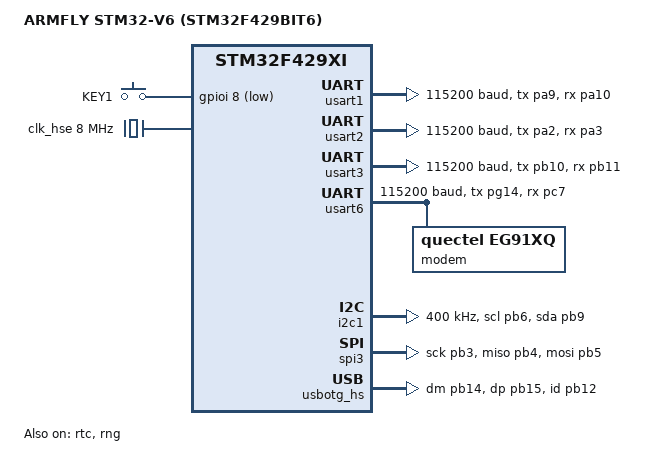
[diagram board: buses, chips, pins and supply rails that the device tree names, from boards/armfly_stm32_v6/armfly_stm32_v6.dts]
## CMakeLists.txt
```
# SPDX-License-Identifier: Apache-2.0

cmake_minimum_required(VERSION 3.28.0)

list(APPEND BOARD_ROOT ${CMAKE_CURRENT_SOURCE_DIR})

find_package(Zephyr REQUIRED HINTS $ENV{ZEPHYR_BASE})
project(hello_world)

target_sources(app PRIVATE
	src/main.c
	src/app_startup.c
	src/app_logging.c
	src/app_time.c
	src/at_control_service.c
	src/modem_device.c
	src/mqtt_tls_credentials.c
	src/ppp_session.c
	src/mqtt_tls_client.c
)
```

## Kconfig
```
source "Kconfig.zephyr"

menu "Armfly Network Demo"

config APP_MQTT_HOSTNAME
	string "MQTT broker hostname"
	default "test.mosquitto.org"

config APP_MQTT_USE_TLS
	bool "Enable MQTT over TLS"
	default y

config APP_MQTT_PORT
	string "MQTT broker port"
	default "8883" if APP_MQTT_USE_TLS
	default "1883"

config APP_MQTT_TOPIC
	string "MQTT topic"
	default "armfly/demo/ppp_tls"

config APP_MQTT_CLIENT_ID_PREFIX
	string "MQTT client ID prefix"
	default "armfly-eg91xq"

config APP_MQTT_LOOP_SECONDS
	int "MQTT demo loop duration in seconds"
	default 20
	range 1 3600

config APP_MQTT_PUBLISH_COUNT
	int "MQTT demo publish count per session"
	default 10
	range 1 255

config APP_MQTT_RX_BUF_SIZE
	int "MQTT client receive buffer size"
	default 1024
	range 256 8192

config APP_MQTT_TX_BUF_SIZE
	int "MQTT client transmit buffer size"
	default 1024
	range 256 8192

config APP_MQTT_PAYLOAD_BUF_SIZE
	int "MQTT payload scratch buffer size"
	default 256
	range 128 2048

if APP_MQTT_USE_TLS

config APP_MQTT_TLS_VERIFY_PEER
	bool "Require broker certificate verification"
	default y

config APP_MQTT_TLS_MUTUAL_AUTH
	bool "Enable mutual TLS authentication"
	default n

config APP_MQTT_TLS_CA_SEC_TAG
	int "TLS security tag for broker CA certificate"
	default 1

config APP_MQTT_TLS_ID_SEC_TAG
	int "TLS security tag for client certificate and private key"
	default 2

endif

config APP_MODEM_SOFT_RESET_ON_RECOVERY
	bool "Allow AT+CFUN=1,1 as last-resort modem recovery"
	default y

config APP_MODEM_SOFT_RESET_THRESHOLD
	int "Consecutive failure threshold before soft reset"
	depends on APP_MODEM_SOFT_RESET_ON_RECOVERY
	default 3
	range 1 255

endmenu
```

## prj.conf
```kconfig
# Added automatically by Workbench for Zephyr
#--- DEBUG PRESET - BEGIN ---#
# Set to -Og
CONFIG_DEBUG_OPTIMIZATIONS=y
# Thread awareness support
CONFIG_DEBUG_THREAD_INFO=y
# Generate stack usage per-function
CONFIG_STACK_USAGE=y
# Other options in case not set by default
CONFIG_MAIN_STACK_SIZE=4096
CONFIG_BUILD_OUTPUT_HEX=y
CONFIG_BUILD_OUTPUT_META=y
CONFIG_OUTPUT_SYMBOLS=y
CONFIG_OUTPUT_STAT=y
CONFIG_OUTPUT_DISASSEMBLY=y
CONFIG_OUTPUT_PRINT_MEMORY_USAGE=y
#--- DEBUG PRESET - END ---#

# ---------------------------------------------------------------------------
# Network / PPP / modem transport
# ---------------------------------------------------------------------------
CONFIG_NETWORKING=y
CONFIG_NET_NATIVE=y
CONFIG_NET_IPV4=y
CONFIG_NET_TCP=y
CONFIG_NET_UDP=y
CONFIG_NET_DHCPV4=y
CONFIG_NET_L2_PPP=y
CONFIG_NET_L2_PPP_MGMT=y
CONFIG_NET_MGMT=y
CONFIG_NET_MGMT_EVENT=y
CONFIG_NET_SOCKETS=y
CONFIG_DNS_RESOLVER=y
CONFIG_DNS_SERVER_IP_ADDRESSES=y
CONFIG_DNS_SERVER1="8.8.8.8"
CONFIG_NET_INTERFACE_NAME=y

CONFIG_MODEM=y
CONFIG_MODEM_CELLULAR=y
CONFIG_MODEM_CELLULAR_APN="internet"
CONFIG_MODEM_CELLULAR_PERIODIC_SCRIPT_MS=10000
CONFIG_MODEM_CELLULAR_MAX_SCRIPT_FAILURES=8
CONFIG_MODEM_CELLULAR_UART_BUFFER_SIZES=1024
CONFIG_MODEM_CELLULAR_CHAT_BUFFER_SIZE=256
CONFIG_MODEM_CMUX_WORK_BUFFER_SIZE_EXTRA=512
CONFIG_MODEM_AT_USER_PIPE=y
CONFIG_MODEM_AT_USER_PIPE_IDX=0
CONFIG_PM_DEVICE=y
CONFIG_UART_INTERRUPT_DRIVEN=y
CONFIG_ENTROPY_STM32_RNG=y

# Keep the known-stable UART backend selection on Zephyr main.
CONFIG_MODEM_BACKEND_UART_ISR=y
CONFIG_MODEM_BACKEND_UART_ASYNC=n

# ---------------------------------------------------------------------------
# Logging / timestamp / diagnostics
# ---------------------------------------------------------------------------
CONFIG_LOG=y
CONFIG_LOG_BACKEND_SHOW_TIMESTAMP=y
CONFIG_LOG_OUTPUT_FORMAT_CUSTOM_TIMESTAMP=y
CONFIG_PRINTK=y

# ---------------------------------------------------------------------------
# MQTT / TLS / certificate validation
# ---------------------------------------------------------------------------
CONFIG_MQTT_LIB=y
CONFIG_MQTT_LIB_TLS=y
CONFIG_NET_SOCKETS_SOCKOPT_TLS=y
CONFIG_MBEDTLS=y
CONFIG_MBEDTLS_SSL_PROTO_TLS1_2=y
CONFIG_MBEDTLS_ENABLE_HEAP=y
CONFIG_MBEDTLS_HEAP_SIZE=60000
CONFIG_MBEDTLS_X509_CRT_PARSE_C=y
CONFIG_MBEDTLS_PEM_PARSE_C=y
CONFIG_MBEDTLS_SSL_SERVER_NAME_INDICATION=y
CONFIG_MBEDTLS_HAVE_TIME_DATE=y
CONFIG_MBEDTLS_CIPHERSUITE_TLS_ECDHE_RSA_WITH_AES_128_GCM_SHA256=y
CONFIG_NET_LOG=y
CONFIG_TLS_CREDENTIALS=y
CONFIG_SNTP=y

# ---------------------------------------------------------------------------
# Modem debug policy (keep focused during bring-up)
# ---------------------------------------------------------------------------
CONFIG_MODEM_LOG_LEVEL_DBG=y
CONFIG_MODEM_MODULES_LOG_LEVEL_DBG=n
CONFIG_MODEM_CHAT_LOG_RAW_RX=n
CONFIG_MODEM_CHAT_LOG_BUFFER_SIZE=256

# ---------------------------------------------------------------------------
# Application policy defaults
# ---------------------------------------------------------------------------
CONFIG_APP_MQTT_USE_TLS=y
CONFIG_APP_MQTT_PORT="8883"
CONFIG_APP_MQTT_PUBLISH_COUNT=10
CONFIG_APP_MQTT_RX_BUF_SIZE=1024
CONFIG_APP_MQTT_TX_BUF_SIZE=1024
CONFIG_APP_MQTT_PAYLOAD_BUF_SIZE=256
# Verify broker certificate (one-way TLS)
CONFIG_APP_MQTT_TLS_VERIFY_PEER=y
# Require client certificate and key (mutual TLS)
CONFIG_APP_MQTT_TLS_MUTUAL_AUTH=y
```

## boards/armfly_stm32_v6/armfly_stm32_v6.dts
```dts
/*
 * Copyright (c) 2017 Linaro Limited
 * Copyright (c) 2024 STMicroelectronics
 * Copyright (c) 2026 ARMFLY
 *
 * SPDX-License-Identifier: Apache-2.0
 */

/dts-v1/;
#include <st/f4/stm32f429Xi.dtsi>
#include <st/f4/stm32f429b(e-g-i)tx-pinctrl.dtsi>
#include <zephyr/dt-bindings/input/input-event-codes.h>

/ {
	model = "ARMFLY STM32-V6 (STM32F429BIT6)";
	compatible = "armfly,stm32-v6";

	chosen {
		zephyr,console = &usart1;
		zephyr,shell-uart = &usart1;
		zephyr,sram = &sram0;
		zephyr,flash = &flash0;
		zephyr,ccm = &ccm0;
	};

	gpio_keys {
		compatible = "gpio-keys";
		key1: button_0 {
			label = "KEY1";
			gpios = <&gpioi 8 GPIO_ACTIVE_LOW>;
			zephyr,code = <INPUT_KEY_0>;
		};
	};

	aliases {
		sw0 = &key1;
		modem-uart = &usart6;
		modem = &modem;
	};
};

&clk_lsi {
	status = "okay";
};

&clk_hse {
	clock-frequency = <DT_FREQ_M(8)>;
	status = "okay";
};

&pll {
	div-m = <8>;
	mul-n = <336>;
	div-p = <2>;
	div-q = <7>;
	clocks = <&clk_hse>;
	status = "okay";
};

&rcc {
	clocks = <&pll>;
	clock-frequency = <DT_FREQ_M(168)>;
	ahb-prescaler = <1>;
	apb1-prescaler = <4>;
	apb2-prescaler = <2>;
};

&usart1 {
	pinctrl-0 = <&usart1_tx_pa9 &usart1_rx_pa10>;
	pinctrl-names = "default";
	current-speed = <115200>;
	status = "okay";
};

&usart2 {
	pinctrl-0 = <&usart2_tx_pa2 &usart2_rx_pa3>;
	pinctrl-names = "default";
	current-speed = <115200>;
	status = "okay";
};

&usart3 {
	pinctrl-0 = <&usart3_tx_pb10 &usart3_rx_pb11>;
	pinctrl-names = "default";
	current-speed = <115200>;
	status = "okay";
};

&usart6 {
	pinctrl-0 = <&usart6_tx_pg14 &usart6_rx_pc7>;
	pinctrl-names = "default";
	current-speed = <115200>;
	status = "okay";

	modem: modem {
		compatible = "quectel,eg91xq";
		/* UART-only wiring: no external PWRKEY control line is connected. */
		autostarts;
		status = "okay";
	};
};

&rtc {
	clocks = <&rcc STM32_CLOCK_BUS_APB1 0x10000000>,
			 <&rcc STM32_SRC_LSI RTC_SEL(2)>;
	status = "okay";
};

&rng {
	status = "okay";
};

&i2c1 {
	pinctrl-0 = <&i2c1_scl_pb6 &i2c1_sda_pb9>;
	pinctrl-names = "default";
	status = "okay";
	clock-frequency = <I2C_BITRATE_FAST>;
};

&spi3 {
	pinctrl-0 = <&spi3_sck_pb3 &spi3_miso_pb4 &spi3_mosi_pb5>;
	pinctrl-names = "default";
	status = "okay";
};

zephyr_udc0: &usbotg_hs {
	pinctrl-0 = <&usb_otg_hs_dm_pb14 &usb_otg_hs_dp_pb15 &usb_otg_hs_id_pb12>;
	pinctrl-names = "default";
	status = "okay";
};
```

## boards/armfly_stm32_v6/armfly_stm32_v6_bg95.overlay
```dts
/*
 * Switch modem node to BG95 (uses Zephyr BG9x cellular driver).
 * Keep UART-only wiring; no dedicated PWRKEY control pin in this overlay.
 */

&modem {
	compatible = "quectel,bg95";
	autostarts;
	status = "okay";
};
```

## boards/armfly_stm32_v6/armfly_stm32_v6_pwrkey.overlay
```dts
/*
 * Enable modem PWRKEY host control for EG91xQ recovery path.
 *
 * Usage:
 * 1) Wire STM32 GPIO to EG91xQ PWRKEY through proper level/drive circuitry.
 * 2) Replace gpiod 14 with your actual pin.
 * 3) Build with this overlay enabled.
 */

#include <zephyr/dt-bindings/gpio/gpio.h>

&modem {
	/* TODO: replace gpiod 14 with the pin actually wired to EG91xQ PWRKEY */
	/*
	 * EG91xQ PWRKEY typically sits on a low-voltage domain.
	 * Use open-drain so MCU only pulls low and never drives a 3.3V high.
	 */
	mdm-power-gpios = <&gpiod 14 (GPIO_OPEN_DRAIN | GPIO_ACTIVE_LOW)>;

	/* Keep modem marked as autostarting; driver can still pulse PWRKEY for recovery. */
	autostarts;
	status = "okay";
};
```

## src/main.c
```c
/*
 * SPDX-License-Identifier: Apache-2.0
 */

#include <errno.h>

#include <zephyr/kernel.h>
#include <zephyr/sys/printk.h>

#include "app_startup.h"

int main(void)
{
	printk("[app] stm32_modem_demo boot, console alive\n");

	while (1) {
		int ret = app_startup_run();

		if (ret == -EAGAIN) {
			continue;
		}

		if (ret == 0) {
			break;
		}

		/* Validation often fails for transient reasons during hardware bring-up.
		 * Retry after a short delay so a power-cycle or SIM/network change does not
		 * require a full MCU reset.
		 */
		printk("[app] modem startup failed: %d, retrying\n", ret);
		k_sleep(K_SECONDS(10));
	}

	while (1) {
		k_sleep(K_SECONDS(5));
	}
}
```

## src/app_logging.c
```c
/*
 * SPDX-License-Identifier: Apache-2.0
 */

#include <stdarg.h>
#include <time.h>

#include <zephyr/logging/log.h>
#include <zephyr/logging/log_ctrl.h>
#include <zephyr/logging/log_output_custom.h>
#include <zephyr/sys/clock.h>
#include <zephyr/sys/printk.h>

#include "app_logging.h"
#include "app_time.h"

#define APP_LOG_TIME_STR_LEN 24

LOG_MODULE_REGISTER(app_logging, CONFIG_LOG_DEFAULT_LEVEL);

static log_timestamp_t app_log_timestamp_get(void)
{
	struct timespec now = { 0 };

	if (sys_clock_gettime(SYS_CLOCK_REALTIME, &now) == 0) {
		return (log_timestamp_t)now.tv_sec;
	}

	return 0U;
}

static int app_log_custom_timestamp(const struct log_output *output,
					const log_timestamp_t timestamp,
					const log_timestamp_printer_t printer)
{
	time_t unix_time = (time_t)timestamp;
	struct tm *tm_utc = gmtime(&unix_time);

	if (tm_utc == NULL) {
		return printer(output, "unsynced");
	}

	return printer(output, "%04d-%02d-%02dT%02d:%02d:%02dZ",
		      tm_utc->tm_year + 1900,
		      tm_utc->tm_mon + 1,
		      tm_utc->tm_mday,
		      tm_utc->tm_hour,
		      tm_utc->tm_min,
		      tm_utc->tm_sec);
}

void app_logger_init(void)
{
	if (log_set_timestamp_func(app_log_timestamp_get, 1000U) < 0) {
		LOG_WRN("logger timestamp hook init failed");
	}

	if (IS_ENABLED(CONFIG_LOG_OUTPUT_FORMAT_CUSTOM_TIMESTAMP)) {
		log_custom_timestamp_set(app_log_custom_timestamp);
	}
}

void app_format_realtime(char *buf, size_t len)
{
	app_time_format_utc(buf, len);
}

void app_logf(const char *fmt, ...)
{
	char ts[APP_LOG_TIME_STR_LEN];
	char msg[192];
	va_list args;

	app_format_realtime(ts, sizeof(ts));
	va_start(args, fmt);
	vsnprintk(msg, sizeof(msg), fmt, args);
	va_end(args);
	printk("[app][%s] %s", ts, msg);
}

void app_log_phase(const char *name, const char *detail)
{
	LOG_INF("phase[%s]: %s", name, detail);
}
```

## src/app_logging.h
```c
/*
 * SPDX-License-Identifier: Apache-2.0
 */

#ifndef APP_LOGGING_H_
#define APP_LOGGING_H_

#include <stddef.h>

void app_format_realtime(char *buf, size_t len);
void app_logf(const char *fmt, ...);
void app_log_phase(const char *name, const char *detail);
void app_logger_init(void);

#define APP_LOG_PHASE(name, detail) LOG_INF("phase[%s]: %s", name, detail)
#define APP_LOG_INFO(...) LOG_INF(__VA_ARGS__)
#define APP_LOG_WARN(...) LOG_WRN(__VA_ARGS__)
#define APP_LOG_ERR(...) LOG_ERR(__VA_ARGS__)

#endif /* APP_LOGGING_H_ */
```

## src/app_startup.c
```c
/*
 * SPDX-License-Identifier: Apache-2.0
 */

#include <errno.h>
#include <stdbool.h>
#include <stdint.h>

#include <zephyr/device.h>
#include <zephyr/drivers/modem/modem_cellular.h>
#include <zephyr/kernel.h>
#include <zephyr/logging/log.h>
#include <zephyr/net/sntp.h>
#include <zephyr/sys/clock.h>
#include <zephyr/sys/util.h>

#include "app_logging.h"
#include "app_startup.h"
#include "app_time.h"
#include "at_control_service.h"
#include "mqtt_tls_client.h"
#include "modem_device.h"
#include "ppp_session.h"

LOG_MODULE_REGISTER(app_startup, CONFIG_LOG_DEFAULT_LEVEL);

static uint8_t app_consecutive_failures;

#define APP_LIFECYCLE_RETRY_STEP_MS 200
#define APP_LIFECYCLE_RETRY_TIMEOUT_MS 10000
#define APP_SNTP_QUERY_TIMEOUT_MS 4000
#define APP_SNTP_RETRY_COUNT 3
#define APP_SNTP_RETRY_DELAY_MS 1200

static int app_sync_time_for_tls(void)
{
	return app_time_sync_for_tls();
}

static int app_bring_down_ppp_with_retry(struct net_if *iface)
{
	int ret;
	int elapsed_ms = 0;

	while (elapsed_ms <= APP_LIFECYCLE_RETRY_TIMEOUT_MS) {
		ret = ppp_session_bring_down(iface);
		if (ret == 0) {
			return 0;
		}
		if (ret != -EAGAIN) {
			return ret;
		}

		k_msleep(APP_LIFECYCLE_RETRY_STEP_MS);
		elapsed_ms += APP_LIFECYCLE_RETRY_STEP_MS;
	}

	return -EAGAIN;
}

static int app_suspend_modem_with_retry(const struct device *modem)
{
	int ret;
	int elapsed_ms = 0;

	while (elapsed_ms <= APP_LIFECYCLE_RETRY_TIMEOUT_MS) {
		ret = modem_device_suspend(modem);
		if (ret == 0) {
			return 0;
		}
		if (ret != -EAGAIN) {
			return ret;
		}

		k_msleep(APP_LIFECYCLE_RETRY_STEP_MS);
		elapsed_ms += APP_LIFECYCLE_RETRY_STEP_MS;
	}

	return -EAGAIN;
}

static void app_resume_periodic_script_if_needed(const struct device *modem,
							 bool *periodic_paused)
{
	int ret;

	if (!periodic_paused || !*periodic_paused) {
		return;
	}

	ret = cellular_modem_resume_periodic_script(modem);
	*periodic_paused = false;
	if (ret < 0 && ret != -EINVAL && ret != -ENOTSUP) {
		app_logf("failed to resume periodic script: %d\n", ret);
	}
}

static int app_pause_periodic_script_if_possible(const struct device *modem)
{
	int ret;

	ret = cellular_modem_pause_periodic_script(modem);
	if (ret == 0 || ret == -EINVAL) {
		return 1;
	}
	if (ret != -ENOTSUP) {
		app_logf("failed to pause periodic script: %d\n", ret);
	}

	return 0;
}

int app_startup_run(void)
{
	const struct device *modem = modem_device_get();
	struct net_if *iface = ppp_session_get_iface();
	bool modem_resumed = false;
	bool ppp_brought_up = false;
	bool soft_reset_requested = false;
	bool periodic_paused = false;
	bool mqtt_stage_reached = false;
	int ret;

	/*
	 * The PPP interface is created by the modem PPP backend. If it is missing,
	 * no amount of modem bring-up will make the validation path succeed.
	 */
	if (iface == NULL) {
		LOG_ERR("PPP interface not found");
		return -ENODEV;
	}

	app_logger_init();
	LOG_INF("logger timestamp source initialized using SYS_CLOCK_REALTIME");
	APP_LOG_PHASE("modem", "resume modem and prepare UART/CMUX backend");
	ret = modem_device_resume(modem);
	if (ret < 0) {
		LOG_ERR("failed to resume modem: %d", ret);
		return ret;
	}
	modem_resumed = true;

	/*
	 * Bringing the network interface up allows the modem driver to complete the
	 * CMUX + PPP path and then obtain an IPv4 address asynchronously.
	 */
	APP_LOG_PHASE("network", "bring up PPP interface");
	ret = ppp_session_bring_up(iface);
	if (ret < 0) {
		LOG_ERR("failed to bring up PPP interface: %d", ret);
		goto fail;
	}
	ppp_brought_up = true;

	ret = ppp_session_wait_connected(iface, K_SECONDS(120));
	if (ret < 0) {
		LOG_ERR("PPP phase not running in time: %d", ret);
		goto fail;
	}

	ret = ppp_session_wait_ipv4_ready(iface, K_SECONDS(30));
	if (ret < 0) {
		LOG_ERR("PPP IPv4 not ready in time: %d", ret);
		goto fail;
	}

	APP_LOG_PHASE("time", "synchronize realtime clock for TLS certificate validation");
	ret = app_sync_time_for_tls();
	if (ret < 0) {
		LOG_ERR("SNTP clock sync failed, abort TLS validation path: %d", ret);
		goto fail;
	}

	APP_LOG_PHASE("network", "PPP data path is up");
	LOG_INF("PPP connected, modem data path is up");

	/*
	 * Validate real data connectivity from STM32 side.
	 * ICMP may be blocked on some operator networks, so a failure here is still
	 * useful as a visibility signal, but not always a modem/PPP defect.
	 */
	APP_LOG_PHASE("network", "validate PPP connectivity to the public internet");
	ret = ppp_session_ping_ipv4(iface, "8.8.8.8", K_SECONDS(8));
	if (ret < 0) {
		LOG_WRN("PPP ping check failed: %d, continue validation with AT/MQTT", ret);
	}

	if (ret == 0) {
		LOG_INF("PPP connectivity check passed");
	}

	APP_LOG_PHASE("modem", "run AT health and registration checks");
	ret = at_control_service_health_check();
	if (ret < 0) {
		LOG_ERR("AT health check failed: %d", ret);
		goto fail;
	}

	ret = at_control_service_query_registration();
	if (ret < 0) {
		LOG_ERR("AT registration query failed: %d", ret);
		goto fail;
	}

	periodic_paused = app_pause_periodic_script_if_possible(modem);

	APP_LOG_PHASE("mqtt", "establish MQTT session over TLS");
	mqtt_stage_reached = true;
	ret = mqtt_tls_client_run(iface);
	if (ret < 0) {
		LOG_ERR("MQTT over TLS demo failed: %d", ret);
		goto fail;
	}

	app_resume_periodic_script_if_needed(modem, &periodic_paused);

	/*
	 * Demonstrate one full PPP over UART lifecycle:
	 * first release PPP/CMUX cleanly, then suspend modem and restart.
	 * The modem driver's shutdown path handles vendor-specific power-off/reset sequence.
	 */
	APP_LOG_PHASE("lifecycle", "complete validation and release modem resources");
	if (ppp_brought_up) {
		int down_ret = app_bring_down_ppp_with_retry(iface);

		if (down_ret < 0) {
			LOG_ERR("failed to bring down PPP interface: %d", down_ret);
		}
	}

	if (modem_resumed) {
		int suspend_ret = app_suspend_modem_with_retry(modem);

		if (suspend_ret < 0) {
			LOG_ERR("failed to suspend modem after success path: %d", suspend_ret);
		}
	}

	k_sleep(K_SECONDS(10));
	LOG_INF("MQTT over TLS demo passed");
	LOG_INF("lifecycle cycle complete, restarting next loop");
	app_consecutive_failures = 0;
	return -EAGAIN;

fail:
	app_resume_periodic_script_if_needed(modem, &periodic_paused);

	if (app_consecutive_failures < UINT8_MAX) {
		app_consecutive_failures++;
	}

	if (mqtt_stage_reached) {
		LOG_WRN("MQTT stage failed, keep modem managed by driver recovery");
		return ret;
	}

	if (ppp_brought_up) {
		(void)ppp_session_bring_down(iface);
	}

	if (IS_ENABLED(CONFIG_APP_MODEM_SOFT_RESET_ON_RECOVERY) &&
	    app_consecutive_failures >= CONFIG_APP_MODEM_SOFT_RESET_THRESHOLD) {
		LOG_WRN("failure threshold reached, requesting AT+CFUN=1,1 soft reset");
		soft_reset_requested = true;
		app_consecutive_failures = 0;
	}

	if (soft_reset_requested) {
		int soft_reset_ret = at_control_service_soft_reset();

		if (soft_reset_ret < 0) {
			LOG_ERR("AT+CFUN=1,1 request failed: %d, fallback to modem suspend",
				soft_reset_ret);
			if (modem_resumed) {
				(void)modem_device_suspend(modem);
			}
		} else {
			LOG_INF("AT+CFUN=1,1 accepted, waiting for modem reboot");
			k_sleep(K_SECONDS(3));
		}

		return ret;
	}

	if (modem_resumed) {
		(void)modem_device_suspend(modem);
	}

	return ret;
}
```

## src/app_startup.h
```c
/*
 * SPDX-License-Identifier: Apache-2.0
 */

#ifndef APP_STARTUP_H_
#define APP_STARTUP_H_

int app_startup_run(void);

#endif /* APP_STARTUP_H_ */
```

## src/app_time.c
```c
/*
 * SPDX-License-Identifier: Apache-2.0
 */

#include <time.h>

#include <zephyr/kernel.h>
#include <zephyr/net/sntp.h>
#include <zephyr/sys/clock.h>
#include <zephyr/sys/util.h>

#include "app_logging.h"
#include "app_time.h"

#define APP_TIME_SYNC_MIN_VALID_UNIX 1700000000LL
#define APP_SNTP_QUERY_TIMEOUT_MS 4000
#define APP_SNTP_RETRY_COUNT 3
#define APP_SNTP_RETRY_DELAY_MS 1200
#define APP_LOG_TIME_STR_LEN 24

static const char *const app_sntp_servers[] = {
	"ntp.aliyun.com",
	"cn.pool.ntp.org",
	"0.pool.ntp.org",
};

#define APP_SNTP_SERVER_COUNT ARRAY_SIZE(app_sntp_servers)

static const char *app_sntp_error_name(int err)
{
	switch (err) {
	case -ETIMEDOUT:
		return "ETIMEDOUT";
	case -ENETUNREACH:
		return "ENETUNREACH";
	case -ENETDOWN:
		return "ENETDOWN";
	case -EHOSTUNREACH:
		return "EHOSTUNREACH";
	default:
		return "UNKNOWN";
	}
}

static const char *app_sntp_error_hint(int err)
{
	switch (err) {
	case -ETIMEDOUT:
		return "NTP response timeout";
	case -ENETUNREACH:
		return "network route unavailable";
	case -ENETDOWN:
		return "network link not ready";
	case -EHOSTUNREACH:
		return "NTP host unreachable";
	default:
		return "refer to raw errno/status";
	}
}

void app_time_format_utc(char *buf, size_t len)
{
	struct timespec now = { 0 };
	struct tm *tm_utc;

	if (buf == NULL || len == 0U) {
		return;
	}

	if (sys_clock_gettime(SYS_CLOCK_REALTIME, &now) < 0 ||
	    now.tv_sec < APP_TIME_SYNC_MIN_VALID_UNIX) {
		snprintk(buf, len, "unsynced");
		return;
	}

	tm_utc = gmtime(&now.tv_sec);
	if (tm_utc == NULL) {
		snprintk(buf, len, "unsynced");
		return;
	}

	snprintk(buf, len, "%04d-%02d-%02dT%02d:%02d:%02dZ",
		 tm_utc->tm_year + 1900,
		 tm_utc->tm_mon + 1,
		 tm_utc->tm_mday,
		 tm_utc->tm_hour,
		 tm_utc->tm_min,
		 tm_utc->tm_sec);
}

int app_time_sync_for_tls(void)
{
	struct timespec now = { 0 };
	struct sntp_time ts = { 0 };
	char ts_text[APP_LOG_TIME_STR_LEN];
	struct timespec synced;
	int attempt;
	int ret;

	if (!IS_ENABLED(CONFIG_MBEDTLS_HAVE_TIME_DATE) ||
	    !IS_ENABLED(CONFIG_APP_MQTT_USE_TLS) ||
	    !IS_ENABLED(CONFIG_APP_MQTT_TLS_VERIFY_PEER)) {
		return 0;
	}

	ret = sys_clock_gettime(SYS_CLOCK_REALTIME, &now);
	if (ret == 0 && now.tv_sec >= APP_TIME_SYNC_MIN_VALID_UNIX) {
		return 0;
	}

	for (attempt = 0; attempt < APP_SNTP_RETRY_COUNT; attempt++) {
		const char *server = app_sntp_servers[attempt % APP_SNTP_SERVER_COUNT];

		ret = sntp_simple(server, APP_SNTP_QUERY_TIMEOUT_MS, &ts);
		if (ret != 0) {
			app_logf("SNTP sync attempt %d/%d failed on %s: %d (%s: %s)\n",
			       attempt + 1, APP_SNTP_RETRY_COUNT, server, ret,
			       app_sntp_error_name(ret), app_sntp_error_hint(ret));
			k_msleep(APP_SNTP_RETRY_DELAY_MS);
			continue;
		}

		synced.tv_sec = (time_t)ts.seconds;
		synced.tv_nsec = (long)(((uint64_t)ts.fraction * 1000000000ULL) >> 32);
		ret = sys_clock_settime(SYS_CLOCK_REALTIME, &synced);
		if (ret < 0) {
			app_logf("failed to set realtime clock after SNTP: %d\n", ret);
			return ret;
		}

		app_time_format_utc(ts_text, sizeof(ts_text));
		app_logf("realtime clock synced via SNTP server=%s (%llu, %s)\n",
		       server, (unsigned long long)ts.seconds, ts_text);
		return 0;
	}

	return ret;
}
```

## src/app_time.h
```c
/*
 * SPDX-License-Identifier: Apache-2.0
 */

#ifndef APP_TIME_H_
#define APP_TIME_H_

#include <stddef.h>

void app_time_format_utc(char *buf, size_t len);
int app_time_sync_for_tls(void);

#endif /* APP_TIME_H_ */
```

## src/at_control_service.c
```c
/*
 * SPDX-License-Identifier: Apache-2.0
 */

#include <errno.h>
#include <string.h>

#include <zephyr/kernel.h>
#include <zephyr/modem/at/user_pipe.h>
#include <zephyr/modem/chat.h>
#include <zephyr/sys/printk.h>
#include <zephyr/sys/util.h>

#include "at_control_service.h"

#define AT_CTRL_RX_BUF_SIZE 128
#define AT_CTRL_ARGV_SIZE 16
#define AT_CTRL_CMD_BUF_SIZE 96
#define AT_CTRL_EXPECTED_BUF_SIZE 16

#define AT_CTRL_CHAT_TIMEOUT_S 5
#define AT_CTRL_PIPE_CLAIM_TIMEOUT K_SECONDS(2)
#define AT_CTRL_SOFT_RESET_SETTLE_MS 2500

static struct k_mutex at_ctrl_lock;
static bool at_ctrl_init_done;

struct at_ctrl_ctx {
	struct modem_chat chat;
	uint8_t chat_rx_buf[AT_CTRL_RX_BUF_SIZE];
	uint8_t *chat_argv[AT_CTRL_ARGV_SIZE];

	struct modem_chat_script script;
	struct modem_chat_script_chat script_chat;
	struct modem_chat_match script_matches[2];
	char cmd_buf[AT_CTRL_CMD_BUF_SIZE];
	char expected_buf[AT_CTRL_EXPECTED_BUF_SIZE];
};

static struct at_ctrl_ctx at_ctrl_ctx;

MODEM_CHAT_MATCH_DEFINE(at_ctrl_ok_match, "OK", "", NULL);
MODEM_CHAT_MATCHES_DEFINE(at_ctrl_abort_matches,
			  MODEM_CHAT_MATCH("ERROR", "", NULL),
			  MODEM_CHAT_MATCH("+CME ERROR", "", NULL));

static void at_ctrl_print_any_match(struct modem_chat *chat, char **argv, uint16_t argc,
				    void *user_data)
{
	ARG_UNUSED(chat);
	ARG_UNUSED(user_data);

	if (argc == 2) {
		printk("[at] resp: %s\n", argv[1]);
	} else if (argc == 1) {
		printk("[at] resp: %s\n", argv[0]);
	}
}

static void at_ctrl_print_match(struct modem_chat *chat, char **argv, uint16_t argc,
				 void *user_data)
{
	ARG_UNUSED(chat);
	ARG_UNUSED(user_data);

	if (argc == 1) {
		printk("[at] resp: %s\n", argv[0]);
	}
}

static int at_control_service_init(void)
{
	struct modem_chat_config chat_cfg = {
		.user_data = NULL,
		.receive_buf = at_ctrl_ctx.chat_rx_buf,
		.receive_buf_size = sizeof(at_ctrl_ctx.chat_rx_buf),
		.delimiter = (const uint8_t *)"\r",
		.delimiter_size = 1,
		.filter = (const uint8_t *)"\n",
		.filter_size = 1,
		.argv = at_ctrl_ctx.chat_argv,
		.argv_size = ARRAY_SIZE(at_ctrl_ctx.chat_argv),
		.unsol_matches = modem_chat_empty_matches,
		.unsol_matches_size = 0,
	};

	if (at_ctrl_init_done) {
		return 0;
	}

	k_mutex_init(&at_ctrl_lock);
	modem_chat_init(&at_ctrl_ctx.chat, &chat_cfg);

	modem_chat_script_init(&at_ctrl_ctx.script);
	modem_chat_script_set_name(&at_ctrl_ctx.script, "app_at_ctrl_script");
	modem_chat_script_set_timeout(&at_ctrl_ctx.script, AT_CTRL_CHAT_TIMEOUT_S);
	modem_chat_script_set_abort_matches(&at_ctrl_ctx.script,
					    at_ctrl_abort_matches,
					    ARRAY_SIZE(at_ctrl_abort_matches));

	modem_chat_script_chat_init(&at_ctrl_ctx.script_chat);

	/* Print intermediate response lines and complete the script when expected final line is seen. */
	modem_chat_match_init(&at_ctrl_ctx.script_matches[0]);
	modem_chat_match_set_match(&at_ctrl_ctx.script_matches[0], "");
	modem_chat_match_set_separators(&at_ctrl_ctx.script_matches[0], "");
	modem_chat_match_set_callback(&at_ctrl_ctx.script_matches[0], at_ctrl_print_any_match);
	modem_chat_match_set_partial(&at_ctrl_ctx.script_matches[0], true);
	modem_chat_match_enable_wildcards(&at_ctrl_ctx.script_matches[0], false);

	modem_chat_match_init(&at_ctrl_ctx.script_matches[1]);
	modem_chat_match_set_match(&at_ctrl_ctx.script_matches[1], "OK");
	modem_chat_match_set_separators(&at_ctrl_ctx.script_matches[1], "");
	modem_chat_match_set_callback(&at_ctrl_ctx.script_matches[1], at_ctrl_print_match);
	modem_chat_match_set_partial(&at_ctrl_ctx.script_matches[1], false);
	modem_chat_match_enable_wildcards(&at_ctrl_ctx.script_matches[1], false);

	modem_chat_script_set_script_chats(&at_ctrl_ctx.script, &at_ctrl_ctx.script_chat, 1);

	at_ctrl_init_done = true;
	return 0;
}

int at_control_service_send(const char *cmd, bool wait_for_ok, uint16_t settle_ms)
{
	int ret;

	if (cmd == NULL || strlen(cmd) == 0) {
		return -EINVAL;
	}

	ret = at_control_service_init();
	if (ret < 0) {
		return ret;
	}

	k_mutex_lock(&at_ctrl_lock, K_FOREVER);

	snprintk(at_ctrl_ctx.cmd_buf, sizeof(at_ctrl_ctx.cmd_buf), "%s", cmd);

	ret = modem_chat_script_chat_set_request(&at_ctrl_ctx.script_chat, at_ctrl_ctx.cmd_buf);
	if (ret < 0) {
		k_mutex_unlock(&at_ctrl_lock);
		return ret;
	}

	snprintk(at_ctrl_ctx.expected_buf, sizeof(at_ctrl_ctx.expected_buf), "%s", "OK");
	ret = modem_chat_match_set_match(&at_ctrl_ctx.script_matches[1], at_ctrl_ctx.expected_buf);
	if (ret < 0) {
		k_mutex_unlock(&at_ctrl_lock);
		return ret;
	}

	ret = modem_chat_script_chat_set_response_matches(&at_ctrl_ctx.script_chat,
					 at_ctrl_ctx.script_matches,
					 ARRAY_SIZE(at_ctrl_ctx.script_matches));
	if (ret < 0) {
		k_mutex_unlock(&at_ctrl_lock);
		return ret;
	}

	if (wait_for_ok) {
		modem_chat_script_chat_set_timeout(&at_ctrl_ctx.script_chat, 0);
	} else {
		modem_chat_script_chat_set_timeout(&at_ctrl_ctx.script_chat, settle_ms);
	}

	ret = modem_at_user_pipe_claim(&at_ctrl_ctx.chat, AT_CTRL_PIPE_CLAIM_TIMEOUT);
	if (ret < 0) {
		printk("[at] pipe claim failed: %d\n", ret);
		k_mutex_unlock(&at_ctrl_lock);
		return ret;
	}

	ret = modem_chat_run_script(&at_ctrl_ctx.chat, &at_ctrl_ctx.script);
	modem_at_user_pipe_release();
	k_mutex_unlock(&at_ctrl_lock);

	if (!wait_for_ok && ret == -ETIMEDOUT) {
		printk("[at] command settle timeout accepted: %s\n", cmd);
		return 0;
	}

	if (ret < 0) {
		printk("[at] command failed (%s): %d\n", cmd, ret);
		return ret;
	}

	printk("[at] command ok: %s\n", cmd);
	return 0;
}

int at_control_service_health_check(void)
{
	return at_control_service_send("AT", true, 0);
}

int at_control_service_query_registration(void)
{
	/* +CEREG response line is modem-specific; this call verifies modem command path health. */
	return at_control_service_send("AT+CEREG?", true, 0);
}

int at_control_service_soft_reset(void)
{
	/* AT+CFUN=1,1 may not return a clean final response before rebooting the modem. */
	return at_control_service_send("AT+CFUN=1,1", false, AT_CTRL_SOFT_RESET_SETTLE_MS);
}
```

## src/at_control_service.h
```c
/*
 * SPDX-License-Identifier: Apache-2.0
 */

#ifndef AT_CONTROL_SERVICE_H_
#define AT_CONTROL_SERVICE_H_

#include <stdbool.h>
#include <stdint.h>

int at_control_service_health_check(void);
int at_control_service_query_registration(void);
int at_control_service_send(const char *cmd, bool wait_for_ok, uint16_t settle_ms);
int at_control_service_soft_reset(void);

#endif /* AT_CONTROL_SERVICE_H_ */
```

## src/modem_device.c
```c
/*
 * SPDX-License-Identifier: Apache-2.0
 */

#include <errno.h>

#include <zephyr/devicetree.h>
#include <zephyr/device.h>
#include <zephyr/pm/device.h>
#include <zephyr/sys/printk.h>

#include "modem_device.h"

const struct device *modem_device_get(void)
{
	return DEVICE_DT_GET(DT_ALIAS(modem));
}

int modem_device_resume(const struct device *modem)
{
	enum pm_device_state state;
	int ret;

	if (!device_is_ready(modem)) {
		printk("modem device is not ready\n");
		return -ENODEV;
	}

	ret = pm_device_state_get(modem, &state);
	if ((ret == 0) && (state == PM_DEVICE_STATE_ACTIVE)) {
		printk("resume modem (already active)\n");
		return 0;
	}

	/* Resume kicks the modem_cellular state machine, which handles power-up,
	 * AT initialization, CMUX setup, and PPP carrier activation.
	 */
	printk("resume modem\n");
	ret = pm_device_action_run(modem, PM_DEVICE_ACTION_RESUME);
	if ((ret == -EALREADY) || (ret == -EBUSY)) {
		printk("resume modem in progress/already done\n");
		return 0;
	}

	return ret;
}

int modem_device_suspend(const struct device *modem)
{
	enum pm_device_state state;
	int ret;

	if (!device_is_ready(modem)) {
		printk("modem device is not ready\n");
		return -ENODEV;
	}

	ret = pm_device_state_get(modem, &state);
	if ((ret == 0) && ((state == PM_DEVICE_STATE_SUSPENDED) || (state == PM_DEVICE_STATE_OFF))) {
		printk("suspend modem (already suspended/off)\n");
		return 0;
	}

	printk("suspend modem\n");
	ret = pm_device_action_run(modem, PM_DEVICE_ACTION_SUSPEND);
	if ((ret == -EALREADY) || (ret == -EBUSY)) {
		printk("suspend modem in progress/already done\n");
		return 0;
	}

	return ret;
}
```

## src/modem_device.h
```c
/*
 * SPDX-License-Identifier: Apache-2.0
 */

#ifndef MODEM_DEVICE_H_
#define MODEM_DEVICE_H_

#include <zephyr/device.h>

const struct device *modem_device_get(void);
int modem_device_resume(const struct device *modem);
int modem_device_suspend(const struct device *modem);

#endif /* MODEM_DEVICE_H_ */
```

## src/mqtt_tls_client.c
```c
/*
 * SPDX-License-Identifier: Apache-2.0
 */

#include <errno.h>
#include <stdbool.h>
#include <stdint.h>
#include <stdio.h>
#include <string.h>

#include <zephyr/kernel.h>
#include <zephyr/net/dns_resolve.h>
#include <zephyr/net/mqtt.h>
#include <zephyr/net/net_if.h>
#include <zephyr/net/socket.h>
#include <zephyr/sys/printk.h>
#include <zephyr/sys/util.h>

#include "mqtt_tls_credentials.h"
#include "mqtt_tls_client.h"

#define APP_MQTT_DNS_RETRY_COUNT 5
#define APP_MQTT_DNS_RETRY_DELAY_MS 1500

struct mqtt_demo_ctx {
	struct mqtt_client client;
	struct sockaddr_storage broker;
	struct zsock_pollfd fds[1];
	uint8_t rx_buf[CONFIG_APP_MQTT_RX_BUF_SIZE];
	uint8_t tx_buf[CONFIG_APP_MQTT_TX_BUF_SIZE];
	char client_id[48];
	char if_name[CONFIG_NET_INTERFACE_NAME_LEN + 1];
	bool connected;
	bool sub_acked;
	int conn_result;
};

static void mqtt_log_tls_evidence(struct mqtt_demo_ctx *ctx)
{
	int sock;
	int ciphersuite = 0;
	net_socklen_t optlen = sizeof(ciphersuite);
	int ret;

	if (ctx->client.transport.type != MQTT_TRANSPORT_SECURE) {
		printk("[mqtt] transport: non-secure\n");
		return;
	}

	sock = ctx->client.transport.tls.sock;
	printk("[mqtt] transport: TLS (sock=%d)\n", sock);

	ret = zsock_getsockopt(sock, ZSOCK_SOL_TLS, ZSOCK_TLS_CIPHERSUITE_USED,
				      &ciphersuite, &optlen);
	if (ret == 0) {
		printk("[mqtt] TLS ciphersuite used: 0x%04x\n", (unsigned int)ciphersuite);
	} else {
		printk("[mqtt] TLS ciphersuite read failed: %d (errno=%d)\n", ret, errno);
	}
}

static void mqtt_prepare_fds(struct mqtt_demo_ctx *ctx)
{
	if (ctx->client.transport.type == MQTT_TRANSPORT_NON_SECURE) {
		ctx->fds[0].fd = ctx->client.transport.tcp.sock;
	} else {
		ctx->fds[0].fd = ctx->client.transport.tls.sock;
	}

	ctx->fds[0].events = ZSOCK_POLLIN;
}

static int mqtt_wait_and_input(struct mqtt_demo_ctx *ctx, int32_t timeout_ms)
{
	int ret;

	ret = zsock_poll(ctx->fds, ARRAY_SIZE(ctx->fds), timeout_ms);
	if (ret < 0) {
		printk("[mqtt] poll failed: %d\n", errno);
		return -errno;
	}

	if (ret > 0 && (ctx->fds[0].revents & ZSOCK_POLLIN)) {
		ret = mqtt_input(&ctx->client);
		if (ret < 0) {
			printk("[mqtt] mqtt_input failed: %d\n", ret);
			return ret;
		}
	}

	ret = mqtt_live(&ctx->client);
	if (ret < 0 && ret != -EAGAIN) {
		printk("[mqtt] mqtt_live failed: %d\n", ret);
		return ret;
	}

	return 0;
}

static void mqtt_event_handler(struct mqtt_client *const client, const struct mqtt_evt *evt)
{
	struct mqtt_demo_ctx *ctx = client->user_data;

	switch (evt->type) {
	case MQTT_EVT_CONNACK:
		ctx->conn_result = (evt->result == 0) ? 0 : -EIO;
		if (evt->result == 0) {
			ctx->connected = true;
			printk("[mqtt] CONNACK ok\n");
		} else {
			printk("[mqtt] CONNACK failed: %d\n", evt->result);
		}
		break;

	case MQTT_EVT_DISCONNECT:
		ctx->connected = false;
		printk("[mqtt] disconnected: %d\n", evt->result);
		break;

	case MQTT_EVT_SUBACK:
		if (evt->result != MQTT_SUBACK_FAILURE) {
			ctx->sub_acked = true;
			printk("[mqtt] SUBACK message_id=%u\n", evt->param.suback.message_id);
		} else {
			printk("[mqtt] SUBACK failed: %d\n", evt->result);
		}
		break;

	case MQTT_EVT_PUBLISH: {
		const struct mqtt_publish_param *p = &evt->param.publish;
		char payload[CONFIG_APP_MQTT_PAYLOAD_BUF_SIZE];
		int bytes_read;
		size_t copy_len;

		bytes_read = mqtt_read_publish_payload(client, payload, sizeof(payload) - 1);
		if (bytes_read < 0) {
			printk("[mqtt] payload read failed: %d\n", bytes_read);
			break;
		}

		copy_len = (size_t)bytes_read;
		payload[copy_len] = '\0';

		printk("[mqtt] RX topic='%.*s' payload='%s'\n",
		       p->message.topic.topic.size,
		       p->message.topic.topic.utf8,
		       payload);

		if (p->message.topic.qos == MQTT_QOS_1_AT_LEAST_ONCE) {
			const struct mqtt_puback_param ack = {
				.message_id = p->message_id,
			};

			(void)mqtt_publish_qos1_ack(client, &ack);
		}
		break;
	}

	case MQTT_EVT_PINGRESP:
		printk("[mqtt] PINGRESP\n");
		break;

	default:
		break;
	}
}

static int mqtt_resolve_broker(struct sockaddr_storage *broker)
{
	struct zsock_addrinfo *result;
	struct zsock_addrinfo hints = {
		.ai_family = AF_INET,
		.ai_socktype = SOCK_STREAM,
	};
	int ret = DNS_EAI_FAIL;
	int attempt;

	for (attempt = 1; attempt <= APP_MQTT_DNS_RETRY_COUNT; attempt++) {
		result = NULL;
		errno = 0;

		ret = zsock_getaddrinfo(CONFIG_APP_MQTT_HOSTNAME, CONFIG_APP_MQTT_PORT,
					    &hints, &result);
		if (ret == 0) {
			break;
		}

		printk("[mqtt] DNS resolve attempt %d/%d failed: %d (%s), errno=%d\n",
		       attempt,
		       APP_MQTT_DNS_RETRY_COUNT,
		       ret,
		       zsock_gai_strerror(ret),
		       errno);

		if (ret != DNS_EAI_AGAIN && ret != DNS_EAI_SYSTEM && ret != DNS_EAI_CANCELED) {
			return (ret == DNS_EAI_NONAME || ret == DNS_EAI_NODATA) ? -ENOENT : -EHOSTUNREACH;
		}

		if (attempt < APP_MQTT_DNS_RETRY_COUNT) {
			k_msleep(APP_MQTT_DNS_RETRY_DELAY_MS);
		}
	}

	if (ret != 0) {
		return -EHOSTUNREACH;
	}

	if (result == NULL || result->ai_addr == NULL) {
		if (result != NULL) {
			zsock_freeaddrinfo(result);
		}
		return -ENOENT;
	}

	memset(broker, 0, sizeof(*broker));
	memcpy(broker, result->ai_addr,
	       MIN((size_t)result->ai_addrlen, sizeof(*broker)));
	zsock_freeaddrinfo(result);

	return 0;
}

static int mqtt_client_setup(struct mqtt_demo_ctx *ctx, struct net_if *iface)
{
	int ret;

	mqtt_client_init(&ctx->client);

	snprintk(ctx->client_id, sizeof(ctx->client_id), "%s-%u",
		 CONFIG_APP_MQTT_CLIENT_ID_PREFIX,
		 (uint32_t)k_uptime_get_32());

	ret = net_if_get_name(iface, ctx->if_name, sizeof(ctx->if_name));
	if (ret < 0) {
		ctx->if_name[0] = '\0';
	}

	ctx->client.broker = &ctx->broker;
	ctx->client.evt_cb = mqtt_event_handler;
	ctx->client.user_data = ctx;
	ctx->client.client_id.utf8 = (uint8_t *)ctx->client_id;
	ctx->client.client_id.size = strlen(ctx->client_id);
	ctx->client.password = NULL;
	ctx->client.user_name = NULL;
	ctx->client.protocol_version = MQTT_VERSION_3_1_1;

	ctx->client.rx_buf = ctx->rx_buf;
	ctx->client.rx_buf_size = sizeof(ctx->rx_buf);
	ctx->client.tx_buf = ctx->tx_buf;
	ctx->client.tx_buf_size = sizeof(ctx->tx_buf);
	ctx->client.transport.if_name = (ctx->if_name[0] != '\0') ? ctx->if_name : NULL;

	if (IS_ENABLED(CONFIG_APP_MQTT_USE_TLS)) {
		ctx->client.transport.type = MQTT_TRANSPORT_SECURE;
		ret = mqtt_tls_credentials_configure(&ctx->client.transport.tls.config);
		if (ret < 0) {
			return ret;
		}
	} else {
		ctx->client.transport.type = MQTT_TRANSPORT_NON_SECURE;
	}

	return 0;
}

static int mqtt_wait_connack(struct mqtt_demo_ctx *ctx, k_timeout_t timeout)
{
	int64_t remaining_ms = k_ticks_to_ms_floor64(timeout.ticks);

	while (remaining_ms > 0) {
		int32_t step_ms = (remaining_ms > 1000) ? 1000 : (int32_t)remaining_ms;
		int ret;

		ret = mqtt_wait_and_input(ctx, step_ms);
		if (ret < 0) {
			return ret;
		}

		if (ctx->connected) {
			return 0;
		}

		if (ctx->conn_result != 0) {
			return ctx->conn_result;
		}

		remaining_ms -= step_ms;
	}

	return -ETIMEDOUT;
}

static int mqtt_subscribe_topic(struct mqtt_demo_ctx *ctx)
{
	struct mqtt_topic topic = {
		.topic = {
			.utf8 = (uint8_t *)CONFIG_APP_MQTT_TOPIC,
			.size = strlen(CONFIG_APP_MQTT_TOPIC),
		},
		.qos = MQTT_QOS_0_AT_MOST_ONCE,
	};
	struct mqtt_subscription_list sub_list = {
		.list = &topic,
		.list_count = 1,
		.message_id = 1,
	};

	ctx->sub_acked = false;
	return mqtt_subscribe(&ctx->client, &sub_list);
}

static int mqtt_wait_suback(struct mqtt_demo_ctx *ctx, k_timeout_t timeout)
{
	int64_t remaining_ms = k_ticks_to_ms_floor64(timeout.ticks);

	while (remaining_ms > 0) {
		int32_t step_ms = (remaining_ms > 1000) ? 1000 : (int32_t)remaining_ms;
		int ret;

		ret = mqtt_wait_and_input(ctx, step_ms);
		if (ret < 0) {
			return ret;
		}

		if (ctx->sub_acked) {
			return 0;
		}

		remaining_ms -= step_ms;
	}

	return -ETIMEDOUT;
}

static int mqtt_pump_for_ms(struct mqtt_demo_ctx *ctx, int32_t duration_ms)
{
	int32_t remaining_ms = duration_ms;

	while (remaining_ms > 0 && ctx->connected) {
		int32_t step_ms = (remaining_ms > 1000) ? 1000 : remaining_ms;
		int ret;

		ret = mqtt_wait_and_input(ctx, step_ms);
		if (ret < 0) {
			return ret;
		}

		remaining_ms -= step_ms;
	}

	return ctx->connected ? 0 : -ENOTCONN;
}

static int mqtt_publish_once(struct mqtt_demo_ctx *ctx, uint8_t publish_index)
{
	char payload[CONFIG_APP_MQTT_PAYLOAD_BUF_SIZE];
	struct mqtt_publish_param msg = { 0 };
	uint16_t msg_id = (uint16_t)(k_uptime_get_32() & 0xFFFFu);
	int len;

	len = snprintk(payload, sizeof(payload),
		       "{\"board\":\"armfly_stm32_v6\",\"seq\":%u,\"uptime_ms\":%u}",
		       publish_index,
		       (uint32_t)k_uptime_get_32());
	if (len < 0 || len >= sizeof(payload)) {
		return -ENOMEM;
	}

	msg.message.topic.topic.utf8 = (uint8_t *)CONFIG_APP_MQTT_TOPIC;
	msg.message.topic.topic.size = strlen(CONFIG_APP_MQTT_TOPIC);
	msg.message.topic.qos = MQTT_QOS_0_AT_MOST_ONCE;
	msg.message.payload.data = payload;
	msg.message.payload.len = (size_t)len;
	msg.message_id = msg_id;
	msg.dup_flag = 0U;
	/* Demo mode: retain the latest payload so late subscribers can still receive it. */
	msg.retain_flag = 1U;

	printk("[mqtt] TX topic='%s' payload='%s'\n", CONFIG_APP_MQTT_TOPIC, payload);
	return mqtt_publish(&ctx->client, &msg);
}

int mqtt_tls_client_run(struct net_if *iface)
{
	static struct mqtt_demo_ctx ctx;
	int32_t publish_interval_ms;
	uint8_t publish_count;
	int ret;
	uint8_t publish_index;

	if (iface == NULL) {
		return -ENODEV;
	}

	memset(&ctx, 0, sizeof(ctx));

	ret = mqtt_resolve_broker(&ctx.broker);
	if (ret < 0) {
		printk("[mqtt] broker resolve failed: %d\n", ret);
		return ret;
	}

	ret = mqtt_client_setup(&ctx, iface);
	if (ret < 0) {
		printk("[mqtt] client setup failed: %d\n", ret);
		return ret;
	}

	ret = mqtt_connect(&ctx.client);
	if (ret < 0) {
		printk("[mqtt] mqtt_connect failed: %d\n", ret);
		return ret;
	}

	if (IS_ENABLED(CONFIG_APP_MQTT_USE_TLS)) {
		mqtt_log_tls_evidence(&ctx);
	}

	mqtt_prepare_fds(&ctx);

	ret = mqtt_wait_connack(&ctx, K_SECONDS(20));
	if (ret < 0) {
		printk("[mqtt] wait CONNACK failed: %d\n", ret);
		(void)mqtt_abort(&ctx.client);
		return ret;
	}

	ret = mqtt_subscribe_topic(&ctx);
	if (ret < 0) {
		printk("[mqtt] subscribe failed: %d\n", ret);
		(void)mqtt_disconnect(&ctx.client, NULL);
		return ret;
	}

	ret = mqtt_wait_suback(&ctx, K_SECONDS(10));
	if (ret < 0) {
		printk("[mqtt] wait SUBACK failed: %d\n", ret);
		(void)mqtt_disconnect(&ctx.client, NULL);
		return ret;
	}

	publish_count = (uint8_t)CONFIG_APP_MQTT_PUBLISH_COUNT;
	publish_interval_ms = (CONFIG_APP_MQTT_LOOP_SECONDS * 1000) / publish_count;
	if (publish_interval_ms <= 0) {
		publish_interval_ms = 1000;
	}

	for (publish_index = 1; publish_index <= publish_count && ctx.connected; publish_index++) {
		ret = mqtt_publish_once(&ctx, publish_index);
		if (ret < 0) {
			printk("[mqtt] publish failed: %d\n", ret);
			(void)mqtt_disconnect(&ctx.client, NULL);
			return ret;
		}

		if (publish_index < publish_count) {
			ret = mqtt_pump_for_ms(&ctx, publish_interval_ms);
			if (ret < 0) {
				printk("[mqtt] session pump failed: %d\n", ret);
				break;
			}
		}
	}

	if (ret >= 0 && ctx.connected) {
		ret = mqtt_pump_for_ms(&ctx, 1000);
		if (ret == -ENOTCONN) {
			ret = 0;
		}
	}

	if (ctx.connected) {
		ret = mqtt_disconnect(&ctx.client, NULL);
		if (ret < 0) {
			printk("[mqtt] disconnect failed: %d\n", ret);
		}
	}

	if (!ctx.sub_acked) {
		printk("[mqtt] warning: no SUBACK observed during demo window\n");
	}

	if (ret < 0) {
		return ret;
	}

	printk("[mqtt] demo finished\n");
	return 0;
}
```

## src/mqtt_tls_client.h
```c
/*
 * SPDX-License-Identifier: Apache-2.0
 */

#ifndef MQTT_TLS_CLIENT_H_
#define MQTT_TLS_CLIENT_H_

#include <zephyr/net/net_if.h>

int mqtt_tls_client_run(struct net_if *iface);

#endif /* MQTT_TLS_CLIENT_H_ */
```
